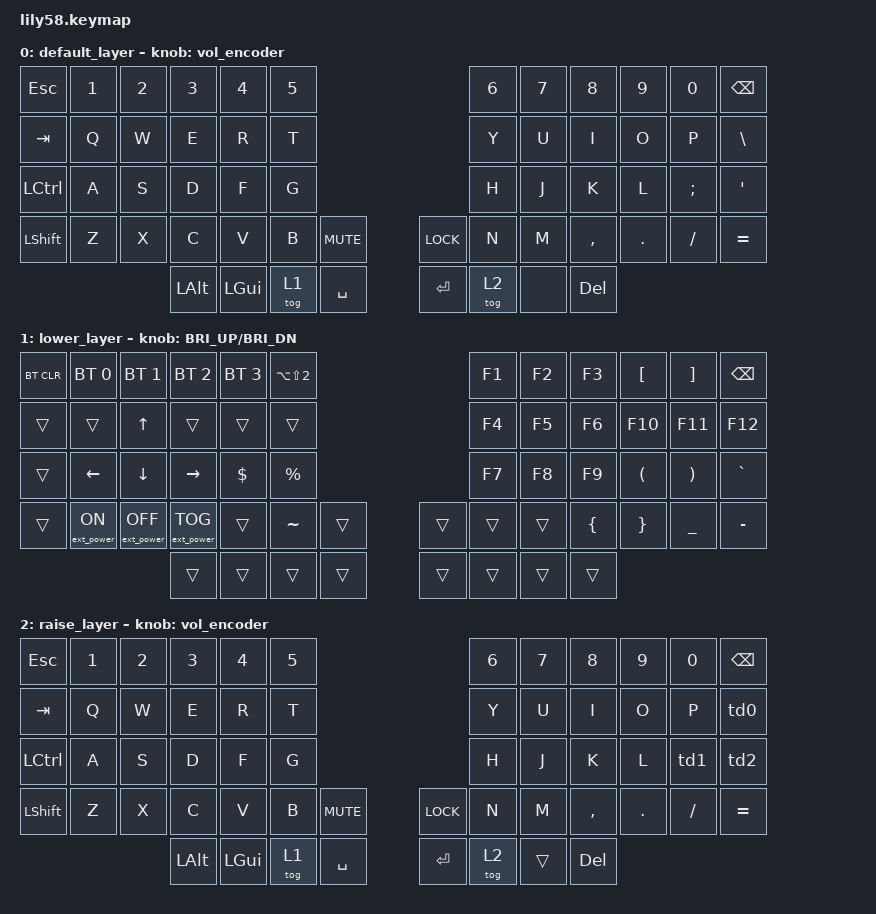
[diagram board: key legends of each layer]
/*
 * Copyright (c) 2020 The ZMK Contributors
 *
 * SPDX-License-Identifier: MIT
 */

#include <behaviors.dtsi>
#include <dt-bindings/zmk/keys.h>
#include <dt-bindings/zmk/bt.h>
#include <dt-bindings/zmk/ext_power.h>
#include <dt-bindings/zmk/rgb.h>
#include <dt-bindings/zmk/outputs.h>

/ {
    behaviors {
        td0: tap_dance_0 {
            compatible = "zmk,behavior-tap-dance";
            #binding-cells = <0>;
            tapping-term-ms = <200>;
            bindings = <&kp LA(A)>, <&kp BSLH>, <&kp PIPE>;
        };
        td1: tap_dance_1 {
            compatible = "zmk,behavior-tap-dance";
            #binding-cells = <0>;
            tapping-term-ms = <200>;
            bindings = <&kp LA(O)>, <&kp SEMI>, <&kp COLON>;
        };
        td2: tap_dance_2 {
            compatible = "zmk,behavior-tap-dance";
            #binding-cells = <0>;
            tapping-term-ms = <200>;
            bindings = <&kp LA(SQT)>, <&kp SQT>, <&kp DQT>;
        };
        vol_encoder: vol_encoder {
            compatible = "zmk,behavior-sensor-rotate";
            #sensor-binding-cells = <0>;
            bindings = <&kp C_VOL_UP>, <&kp C_VOL_DN>;
        };
    };

    keymap {
        compatible = "zmk,keymap";

        default_layer {
// ------------------------------------------------------------------------------------------------------------
// |  ESC  |  1  |  2  |  3   |  4   |  5   |                   |  6   |  7    |  8    |  9   |   0   |  BSPC |
// |  TAB  |  Q  |  W  |  E   |  R   |  T   |                   |  Y   |  U    |  I    |  O   |   P   |   \   |
// |  CTRL |  A  |  S  |  D   |  F   |  G   |                   |  H   |  J    |  K    |  L   |   ;   |   '   |
// | SHIFT |  Z  |  X  |  C   |  V   |  B   |   Mute |  | LOCK  |  N   |  M    |  ,    |  .   |   /   |   =   |
//                     | ALT  | LGUI | LWR  |  SPACE |  | ENTER | RAISE|       | DEL   |
            bindings = <
&kp ESC   &kp N1 &kp N2 &kp N3   &kp N4   &kp N5                     &kp N6 &kp N7   &kp N8    &kp N9  &kp N0   &kp BSPC
&kp TAB   &kp Q  &kp W  &kp E    &kp R    &kp T                      &kp Y  &kp U    &kp I     &kp O   &kp P    &kp BSLH
&kp LCTRL &kp A  &kp S  &kp D    &kp F    &kp G                      &kp H  &kp J    &kp K     &kp L   &kp SEMI &kp SQT
&kp LSHFT &kp Z  &kp X  &kp C    &kp V    &kp B  &kp C_MUTE   &kp K_LOCK  &kp N  &kp M    &kp COMMA &kp DOT &kp FSLH &kp EQUAL
                        &kp LALT  &kp LGUI  &tog 1  &kp SPACE  &kp RET  &tog 2  &none  &kp DEL
            >;

            sensor-bindings = <&vol_encoder>;
        };

        lower_layer {
// ------------------------------------------------------------------------------------------------------------
// | BTCLR | BT1 | BT2 |  BT3 |  BT4 |   €  |                   |   F1 |   F2  |   F3  |  [   |   ]   |  BSPC |
// |       |     | UP  |      |      |      |                   |  F4  |  F5   |  F6   |  F10 |  F11  |  F12  |
// |       |  LF |  DN |  RT  |  $   |  %   |                   |  F7  |  F8   |  F9   |  (   |   )   |   `   |
// |       |     |     |      |      |  ~   |        |  |       |      |       |  {    |  }   |   _   |   -   |
//                     |      |      |      |        |  |       |      |       |       |
            bindings = <
&bt BT_CLR &bt BT_SEL 0     &bt BT_SEL 1      &bt BT_SEL 2      &bt BT_SEL 3 &kp LA(LS(N2))                 &kp F1    &kp F2    &kp F3    &kp LBKT   &kp RBKT   &kp BSPC
&trans     &trans           &kp UP            &trans            &trans       &trans               &kp F4    &kp F5    &kp F6    &kp F10    &kp F11    &kp F12
&trans  &kp LEFT         &kp DOWN            &kp RIGHT          &kp DOLLAR   &kp PRCNT                   &kp F7    &kp F8    &kp F9    &kp LPAR   &kp RPAR   &kp GRAVE
&trans     &ext_power EP_ON &ext_power EP_OFF &ext_power EP_TOG &trans       &kp TILDE    &trans   &trans    &trans    &trans &kp LBRC  &kp RBRC  &kp UNDERSCORE  &kp MINUS
                                              &trans            &trans       &trans    &trans   &trans    &trans    &trans    &trans
            >;

            sensor-bindings = <&inc_dec_kp C_BRI_UP C_BRI_DN>;
        };

        raise_layer {
// ------------------------------------------------------------------------------------------------------------
// |  ESC  |  1  |  2  |  3   |  4   |  5   |                   |  6   |  7    |  8    |  9   |   0   |  BSPC |
// |  TAB  |  Q  |  W  |  E   |  R   |  T   |                   |  Y   |  U    |  I    |  O   |   P   |   Å   |
// |  CTRL |  A  |  S  |  D   |  F   |  G   |                   |  H   |  J    |  K    |  L   |   Ø   |   Æ   |
// | SHIFT |  Z  |  X  |  C   |  V   |  B   |   Mute |  | LOCK  |  N   |  M    |  ,    |  .   |   /   |   =   |
//                     | ALT  | LGUI | LWR  |  SPACE |  | ENTER | RAISE|       | DEL   |
            bindings = <
&kp ESC   &kp N1 &kp N2 &kp N3   &kp N4   &kp N5                     &kp N6 &kp N7   &kp N8    &kp N9  &kp N0   &kp BSPC
&kp TAB   &kp Q  &kp W  &kp E    &kp R    &kp T                      &kp Y  &kp U    &kp I     &kp O   &kp P    &td0
&kp LCTRL &kp A  &kp S  &kp D    &kp F    &kp G                      &kp H  &kp J    &kp K     &kp L   &td1  &td2
&kp LSHFT &kp Z  &kp X  &kp C    &kp V    &kp B  &kp C_MUTE   &kp K_LOCK  &kp N  &kp M    &kp COMMA &kp DOT &kp FSLH &kp EQUAL
                        &kp LALT  &kp LGUI  &tog 1  &kp SPACE  &kp RET  &tog 2  &trans &kp DEL
            >;

            sensor-bindings = <&vol_encoder>;
        };
    };
};
